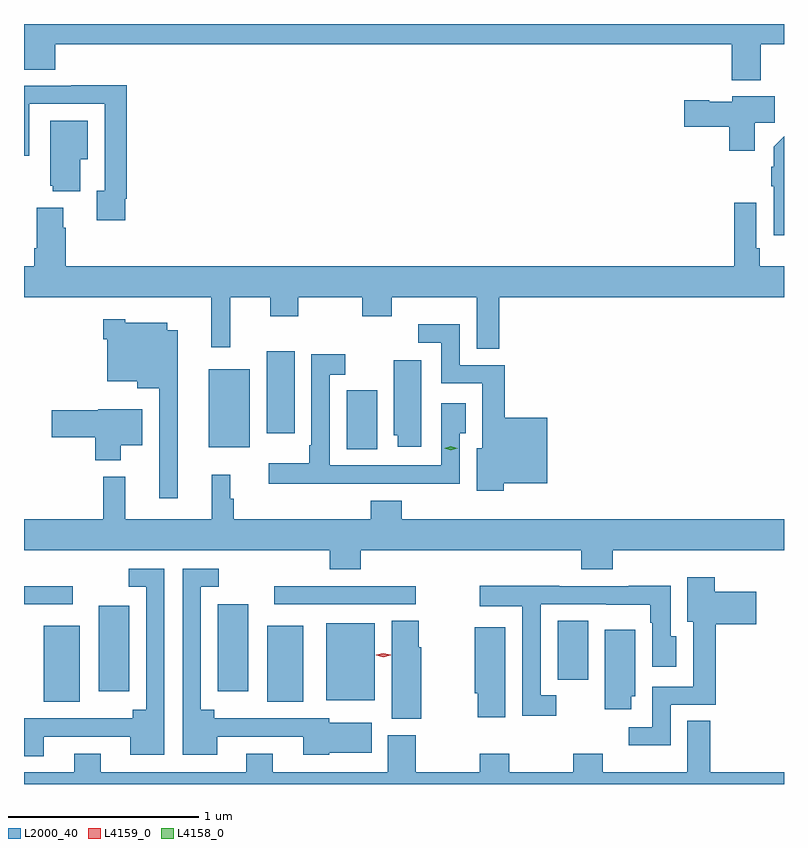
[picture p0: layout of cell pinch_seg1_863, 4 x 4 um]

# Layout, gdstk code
import gdstk
lib = gdstk.Library(unit=1e-6, precision=1e-09)
def R(c, l, rs):  # rectangles x0, y0, x1, y1
    for r in rs: c.add(gdstk.rectangle(r[:2], r[2:], *l))
def P(c, l, *ps):  # polygons
    for p in ps: c.add(gdstk.Polygon(p, *l))
L2000_40 = (2000, 40)
L4158_0 = (4158, 0)
L4159_0 = (4159, 0)

pinch_seg1_863 = lib.new_cell('pinch_seg1_863')
R(pinch_seg1_863, L2000_40, [(506.954,520.301,507.142,520.699), (508.13,520.301,508.318,520.699), (508.439,520.307,508.696,520.714), (507.242,520.356,507.403,520.804), (507.869,520.356,508.03,520.813), (509.657,520.416,509.818,520.727), (506.849,520.812,507.106,520.908), (508.167,520.812,508.912,520.908), (508.547,521.629,508.708,521.94), (507.821,521.639,508.036,522.049), (508.127,521.712,508.273,522.145)])
P(pinch_seg1_863, L2000_40, [(506.849,523.627),(507.014,523.627),(507.014,523.76),(510.575,523.76),(510.575,523.571),(510.727,523.571),(510.727,523.76),(510.849,523.76),(510.849,523.867),(506.849,523.867)],
  [(507.382,522.946),(507.389,522.946),(507.389,523.544),(507.097,523.544),(507.097,523.542),(506.849,523.542),(506.849,523.173),(506.877,523.173),(506.877,523.446),(507.273,523.446),(507.273,522.99),(507.233,522.99),(507.233,522.834),(507.382,522.834)],
  [(510.694,523.348),(510.799,523.348),(510.799,523.486),(510.576,523.486),(510.576,523.459),(510.456,523.459),(510.456,523.467),(510.324,523.467),(510.324,523.325),(510.56,523.325),(510.56,523.2),(510.694,523.2)],
  [(507.145,523.154),(507.184,523.154),(507.184,523.357),(506.987,523.357),(506.987,523.017),(506.999,523.017),(506.999,522.986),(507.145,522.986)],
  [(510.849,523.277),(510.794,523.222),(510.794,523.115),(510.782,523.115),(510.782,523.012),(510.794,523.012),(510.794,522.756),(510.849,522.756)],
  [(509.35,522.428),(510.849,522.428),(510.849,522.592),(510.722,522.592),(510.722,522.688),(510.702,522.688),(510.702,522.925),(510.586,522.925),(510.586,522.592),(507.068,522.592),(507.068,522.794),(507.055,522.794),(507.055,522.901),(506.915,522.901),(506.915,522.688),(506.903,522.688),(506.903,522.592),(506.849,522.592),(506.849,522.428),(507.835,522.428),(507.835,522.165),(507.935,522.165),(507.935,522.428),(508.145,522.428),(508.145,522.329),(508.293,522.329),(508.293,522.428),(508.63,522.428),(508.63,522.329),(508.785,522.329),(508.785,522.428),(509.231,522.428),(509.231,522.157),(509.35,522.157)],
  [(507.658,522.256),(507.604,522.256),(507.604,522.295),(507.381,522.295),(507.381,522.313),(507.266,522.313),(507.266,522.209),(507.287,522.209),(507.287,521.987),(507.446,521.987),(507.446,521.951),(507.561,521.951),(507.561,521.37),(507.658,521.37)],
  [(509.375,521.45),(509.602,521.45),(509.602,521.794),(509.38,521.794),(509.38,522.072),(509.142,522.072),(509.142,522.286),(508.923,522.286),(508.923,522.189),(509.046,522.189),(509.046,521.976),(509.261,521.976),(509.261,521.635),(509.231,521.635),(509.231,521.411),(509.375,521.411)],
  [(508.555,521.448),(508.921,521.448),(508.921,521.447),(509.142,521.447),(509.142,521.713),(509.173,521.713),(509.173,521.871),(509.046,521.871),(509.046,521.544),(508.458,521.544),(508.458,522.021),(508.54,522.021),(508.54,522.13),(508.362,522.13),(508.362,521.65),(508.35,521.65),(508.35,521.554),(508.137,521.554),(508.137,521.447),(508.555,521.447)],
  [(508.939,522.097),(508.796,522.097),(508.796,521.703),(508.817,521.703),(508.817,521.643),(508.939,521.643)],
  [(507.358,521.651),(507.472,521.651),(507.472,521.839),(507.24,521.839),(507.24,521.834),(506.994,521.834),(506.994,521.692),(507.224,521.692),(507.224,521.57),(507.358,521.57)],
  [(508.622,521.096),(509.783,521.096),(509.783,520.997),(509.948,520.997),(509.948,521.096),(510.849,521.096),(510.849,521.26),(508.838,521.26),(508.838,521.359),(508.673,521.359),(508.673,521.26),(507.953,521.26),(507.953,521.369),(507.935,521.369),(507.935,521.494),(507.836,521.494),(507.836,521.26),(507.383,521.26),(507.383,521.485),(507.265,521.485),(507.265,521.26),(506.849,521.26),(506.849,521.096),(508.457,521.096),(508.457,520.997),(508.622,520.997)],
  [(506.953,520.116),(507.407,520.116),(507.407,520.022),(507.588,520.022),(507.588,521.001),(507.399,521.001),(507.399,520.905),(507.492,520.905),(507.492,520.258),(507.422,520.258),(507.422,520.212),(506.849,520.212),(506.849,520.014),(506.953,520.014)],
  [(507.865,520.116),(508.319,520.116),(508.319,520.022),(508.455,520.022),(508.455,520.031),(508.678,520.031),(508.678,520.189),(508.455,520.189),(508.455,520.212),(507.85,520.212),(507.85,520.258),(507.78,520.258),(507.78,520.905),(507.874,520.905),(507.874,521.001),(507.684,521.001),(507.684,520.022),(507.865,520.022)],
  [(510.252,520.284),(510.49,520.284),(510.49,520.709),(510.703,520.709),(510.703,520.879),(510.485,520.879),(510.485,520.954),(510.341,520.954),(510.341,520.721),(510.371,520.721),(510.371,520.38),(510.156,520.38),(510.156,520.167),(510.033,520.167),(510.033,520.07),(510.252,520.07)],
  [(509.65,520.335),(509.568,520.335),(509.568,520.812),(509.914,520.812),(509.914,520.811),(510.144,520.811),(510.144,520.715),(510.156,520.715),(510.156,520.485),(510.283,520.485),(510.283,520.644),(510.252,520.644),(510.252,520.91),(510.031,520.91),(510.031,520.908),(509.665,520.908),(509.665,520.91),(509.247,520.91),(509.247,520.802),(509.472,520.802),(509.472,520.227),(509.65,520.227)],
  [(508.939,520.587),(508.926,520.587),(508.926,520.727),(508.784,520.727),(508.784,520.211),(508.939,520.211)],
  [(509.383,520.693),(509.222,520.693),(509.222,520.344),(509.237,520.344),(509.237,520.218),(509.383,520.218)],
  [(510.046,520.329),(510.067,520.329),(510.067,520.678),(509.906,520.678),(509.906,520.26),(510.046,520.26)],
  [(510.849,519.928),(510.46,519.928),(510.46,520.199),(510.341,520.199),(510.341,519.928),(509.895,519.928),(509.895,520.027),(509.74,520.027),(509.74,519.928),(509.403,519.928),(509.403,520.027),(509.248,520.027),(509.248,519.928),(508.911,519.928),(508.911,520.123),(508.763,520.123),(508.763,519.928),(508.159,519.928),(508.159,520.027),(508.019,520.027),(508.019,519.928),(507.253,519.928),(507.253,520.027),(507.113,520.027),(507.113,519.928),(506.849,519.928),(506.849,519.867),(510.849,519.867)])
P(pinch_seg1_863, L4158_0, [(509.096,521.624),(509.061,521.634),(509.061,521.634),(509.061,521.634),(509.096,521.644),(509.131,521.634),(509.132,521.634),(509.131,521.634)])
P(pinch_seg1_863, L4159_0, [(508.741,520.535),(508.703,520.545),(508.703,520.545),(508.703,520.546),(508.741,520.555),(508.779,520.546),(508.779,520.545),(508.779,520.545)])

lib.write_gds('pinch_seg1_863.gds')
